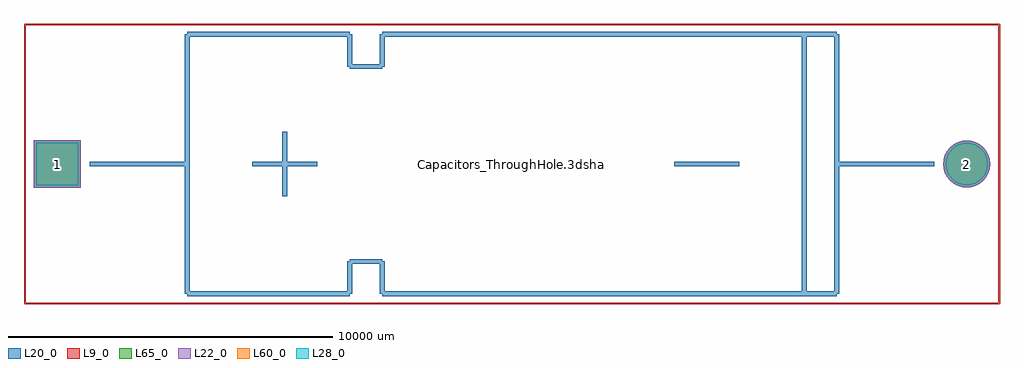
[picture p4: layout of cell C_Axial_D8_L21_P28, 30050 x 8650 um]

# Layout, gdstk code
import gdstk
lib = gdstk.Library(unit=1e-6, precision=1e-09)
def R(c, l, rs):  # rectangles x0, y0, x1, y1
    for r in rs: c.add(gdstk.rectangle(r[:2], r[2:], *l))
def P(c, l, *ps):  # polygons
    for p in ps: c.add(gdstk.Polygon(p, *l))
L9_0 = (9, 0)
L20_0 = (20, 0)
L22_0 = (22, 0)
L28_0 = (28, 0)
L60_0 = (60, 0)
L65_0 = (65, 0)

c_axial_d8_l21_p28 = lib.new_cell('C_Axial_D8_L21_P28')
R(c_axial_d8_l21_p28, L22_0, [(-725,-725,725,725)])
P(c_axial_d8_l21_p28, L22_0, [(28725,0),(28711.069,141.44),(28669.813,277.445),(28602.815,402.788),(28512.652,512.652),(28402.788,602.815),(28277.445,669.813),(28141.44,711.069),(28000,725),(27858.56,711.069),(27722.555,669.813),(27597.212,602.815),(27487.348,512.652),(27397.185,402.788),(27330.187,277.445),(27288.931,141.44),(27275,0),(27288.931,-141.44),(27330.187,-277.445),(27397.185,-402.788),(27487.348,-512.652),(27597.212,-602.815),(27722.555,-669.813),(27858.56,-711.069),(28000,-725),(28141.44,-711.069),(28277.445,-669.813),(28402.788,-602.815),(28512.652,-512.652),(28602.815,-402.788),(28669.813,-277.445),(28711.069,-141.44)])
R(c_axial_d8_l21_p28, L28_0, [(-650,-650,650,650)])
P(c_axial_d8_l21_p28, L28_0, [(28650,0),(28637.51,126.809),(28600.522,248.744),(28540.455,361.121),(28459.619,459.619),(28361.121,540.455),(28248.744,600.522),(28126.809,637.51),(28000,650),(27873.191,637.51),(27751.256,600.522),(27638.879,540.455),(27540.381,459.619),(27459.545,361.121),(27399.478,248.744),(27362.49,126.809),(27350,0),(27362.49,-126.809),(27399.478,-248.744),(27459.545,-361.121),(27540.381,-459.619),(27638.879,-540.455),(27751.256,-600.522),(27873.191,-637.51),(28000,-650),(28126.809,-637.51),(28248.744,-600.522),(28361.121,-540.455),(28459.619,-459.619),(28540.455,-361.121),(28600.522,-248.744),(28637.51,-126.809)])
R(c_axial_d8_l21_p28, L60_0, [(-650,-650,650,650)])
P(c_axial_d8_l21_p28, L60_0, [(28650,0),(28637.51,126.809),(28600.522,248.744),(28540.455,361.121),(28459.619,459.619),(28361.121,540.455),(28248.744,600.522),(28126.809,637.51),(28000,650),(27873.191,637.51),(27751.256,600.522),(27638.879,540.455),(27540.381,459.619),(27459.545,361.121),(27399.478,248.744),(27362.49,126.809),(27350,0),(27362.49,-126.809),(27399.478,-248.744),(27459.545,-361.121),(27540.381,-459.619),(27638.879,-540.455),(27751.256,-600.522),(27873.191,-637.51),(28000,-650),(28126.809,-637.51),(28248.744,-600.522),(28361.121,-540.455),(28459.619,-459.619),(28540.455,-361.121),(28600.522,-248.744),(28637.51,-126.809)])
R(c_axial_d8_l21_p28, L65_0, [(-725,-725,725,725)])
P(c_axial_d8_l21_p28, L65_0, [(28725,0),(28711.069,141.44),(28669.813,277.445),(28602.815,402.788),(28512.652,512.652),(28402.788,602.815),(28277.445,669.813),(28141.44,711.069),(28000,725),(27858.56,711.069),(27722.555,669.813),(27597.212,602.815),(27487.348,512.652),(27397.185,402.788),(27330.187,277.445),(27288.931,141.44),(27275,0),(27288.931,-141.44),(27330.187,-277.445),(27397.185,-402.788),(27487.348,-512.652),(27597.212,-602.815),(27722.555,-669.813),(27858.56,-711.069),(28000,-725),(28141.44,-711.069),(28277.445,-669.813),(28402.788,-602.815),(28512.652,-512.652),(28602.815,-402.788),(28669.813,-277.445),(28711.069,-141.44)])
c_axial_d8_l21_p28.add(gdstk.FlexPath([(-1000,-4300),(-1000,4300)], 50, ends="flush", simple_path=True, layer=9, datatype=0))  # L9_0
c_axial_d8_l21_p28.add(gdstk.FlexPath([(29000,-4300),(-1000,-4300)], 50, ends="flush", simple_path=True, layer=9, datatype=0))  # L9_0
c_axial_d8_l21_p28.add(gdstk.FlexPath([(29000,4300),(29000,-4300)], 50, ends="flush", simple_path=True, layer=9, datatype=0))  # L9_0
c_axial_d8_l21_p28.add(gdstk.FlexPath([(-1000,4300),(29000,4300)], 50, ends="flush", simple_path=True, layer=9, datatype=0))  # L9_0
c_axial_d8_l21_p28.add(gdstk.FlexPath([(7000,-1000),(7000,1000)], 149.998, ends="flush", simple_path=True, layer=20, datatype=0))  # L20_0
c_axial_d8_l21_p28.add(gdstk.FlexPath([(6000,0),(8000,0)], 149.998, ends="flush", simple_path=True, layer=20, datatype=0))  # L20_0
c_axial_d8_l21_p28.add(gdstk.FlexPath([(27000,0),(24000,0)], 149.998, ends="flush", simple_path=True, layer=20, datatype=0))  # L20_0
c_axial_d8_l21_p28.add(gdstk.FlexPath([(4000,0),(1000,0)], 149.998, ends="flush", simple_path=True, layer=20, datatype=0))  # L20_0
c_axial_d8_l21_p28.add(gdstk.FlexPath([(19000,0),(21000,0)], 149.998, ends="flush", simple_path=True, layer=20, datatype=0))  # L20_0
c_axial_d8_l21_p28.add(gdstk.FlexPath([(10000,3000),(10000,4000)], 149.998, ends="flush", simple_path=True, layer=20, datatype=0))  # L20_0
c_axial_d8_l21_p28.add(gdstk.FlexPath([(9000,3000),(10000,3000)], 149.998, ends="flush", simple_path=True, layer=20, datatype=0))  # L20_0
c_axial_d8_l21_p28.add(gdstk.FlexPath([(9000,4000),(9000,3000)], 149.998, ends="flush", simple_path=True, layer=20, datatype=0))  # L20_0
c_axial_d8_l21_p28.add(gdstk.FlexPath([(9000,-3000),(9000,-4000)], 149.998, ends="flush", simple_path=True, layer=20, datatype=0))  # L20_0
c_axial_d8_l21_p28.add(gdstk.FlexPath([(10000,-3000),(9000,-3000)], 149.998, ends="flush", simple_path=True, layer=20, datatype=0))  # L20_0
c_axial_d8_l21_p28.add(gdstk.FlexPath([(10000,-4000),(10000,-3000)], 149.998, ends="flush", simple_path=True, layer=20, datatype=0))  # L20_0
c_axial_d8_l21_p28.add(gdstk.FlexPath([(4000,-4000),(4000,4000)], 149.998, ends="flush", simple_path=True, layer=20, datatype=0))  # L20_0
c_axial_d8_l21_p28.add(gdstk.FlexPath([(23000,4000),(23000,-4000)], 149.998, ends="flush", simple_path=True, layer=20, datatype=0))  # L20_0
c_axial_d8_l21_p28.add(gdstk.FlexPath([(24000,-4000),(24000,4000)], 149.998, ends="flush", simple_path=True, layer=20, datatype=0))  # L20_0
c_axial_d8_l21_p28.add(gdstk.FlexPath([(24000,4000),(10000,4000)], 149.998, ends="flush", simple_path=True, layer=20, datatype=0))  # L20_0
c_axial_d8_l21_p28.add(gdstk.FlexPath([(9000,4000),(4000,4000)], 149.998, ends="flush", simple_path=True, layer=20, datatype=0))  # L20_0
c_axial_d8_l21_p28.add(gdstk.FlexPath([(9000,-4000),(4000,-4000)], 149.998, ends="flush", simple_path=True, layer=20, datatype=0))  # L20_0
c_axial_d8_l21_p28.add(gdstk.FlexPath([(10000,-4000),(24000,-4000)], 149.998, ends="flush", simple_path=True, layer=20, datatype=0))  # L20_0
c_axial_d8_l21_p28.add(gdstk.Label('Capacitors_ThroughHole.3dshapes/C_Axial_D8_L21_P28.wrl', (13999.997,0), layer=12, texttype=0))
c_axial_d8_l21_p28.add(gdstk.Label('2', (28000,0), layer=28, texttype=0))
c_axial_d8_l21_p28.add(gdstk.Label('1', (0,0), layer=28, texttype=0))
c_axial_d8_l21_p28.add(gdstk.Label('type', (14000,-5300), layer=9, texttype=0))
c_axial_d8_l21_p28.add(gdstk.Label('devicename', (14000,5300), layer=9, texttype=0))

lib.write_gds('C_Axial_D8_L21_P28.gds')
